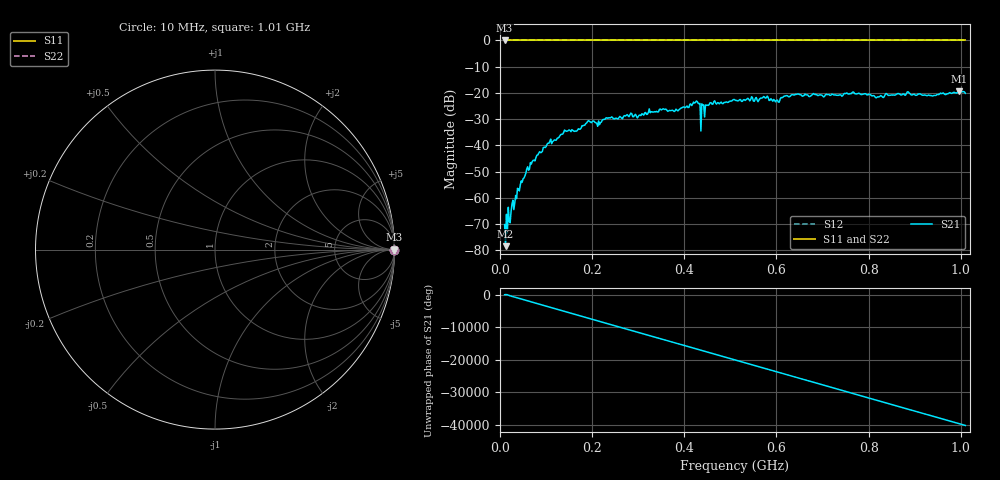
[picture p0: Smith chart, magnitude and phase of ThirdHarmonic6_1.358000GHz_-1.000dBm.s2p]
! 8/16/2025 3:19:31 PM
! C:\ANRITSUVNA\TEMP\TEMP.S2P
! CHANNEL.1
! TR.MEASUREMENT
! RAW.DATA
! RF.CORRECTION.OFF
! AVERAGING.OFF
! IF.BANDWIDTH: 5KHZ
! SWEEPTYPE:  FREQ.SWEEP(Linear)
! Reference Plane Port Info
! PORT:  PORT1  PORT2
! DISTANCE:  0  m  0  m
! TIME:  0  s  0  s
! PHASE.OFFSET:  0  deg.  0  deg.
! LOSS:  0  dB  0  dB
! REF.LOSS:  0  dB  0  dB
! REF.FREQ:  0  Hz  0  Hz
! Power Info
! POWER:  -20  dBm  -20  dBm
! EFF.POWER:  -20  dBm  -20  dBm
! SOURCE.ATTEN:  0  dB  0  dB
! TEST.ATTEN:  0  dB  0  dB
# GHZ S RI R 50.0
! FREQ.GHZ  S11RE  S11IM  S21RE  S21IM  S12RE  S12IM  S22RE  S22IM
!; PortSelection: Port_12
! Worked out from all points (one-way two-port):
!   501 points, 10 MHz to 1.01 GHz, reference 50 ohm
!   highest |S21| = -19.43 dB at 996 MHz (marker M1); lowest = -78.4 dB at 12 MHz (marker M2)
!   lowest |S11| = 0.0 dB at 10 MHz (marker M3)
!   |S11| at or under -10 dB: nowhere
!   |S22| runs from 0.0 to 0.0 dB; largest |S21 - S12| = 1.1
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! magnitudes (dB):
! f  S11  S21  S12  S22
! 10 MHz  0.0  -70.2  0.0  0.0
! 12 MHz  0.0  -78.4  0.0  0.0
! 42 MHz  0.0  -57.3  0.0  0.0
! 70 MHz  0.0  -46.1  0.0  0.0
! 106 MHz  0.0  -39.2  0.0  0.0
! 178 MHz  0.0  -32.5  0.0  0.0
! 192 MHz  0.0  -30.6  0.0  0.0
! 214 MHz  0.0  -30.7  0.0  0.0
! 344 MHz  0.0  -27.2  0.0  0.0
! 382 MHz  0.0  -26.2  0.0  0.0
! 424 MHz  0.0  -23.7  0.0  0.0
! 440 MHz  0.0  -24.6  0.0  0.0
! 442 MHz  0.0  -24.5  0.0  0.0
! 462 MHz  0.0  -24.3  0.0  0.0
! 510 MHz  0.0  -22.7  0.0  0.0
! 576 MHz  0.0  -22.0  0.0  0.0
! 602 MHz  0.0  -22.7  0.0  0.0
! 620 MHz  0.0  -21.1  0.0  0.0
! 678 MHz  0.0  -20.6  0.0  0.0
! 844 MHz  0.0  -21.0  0.0  0.0
! 996 MHz  0.0  -19.4  0.0  0.0
! 1.01 GHz  0.0  -20.1  0.0  0.0
